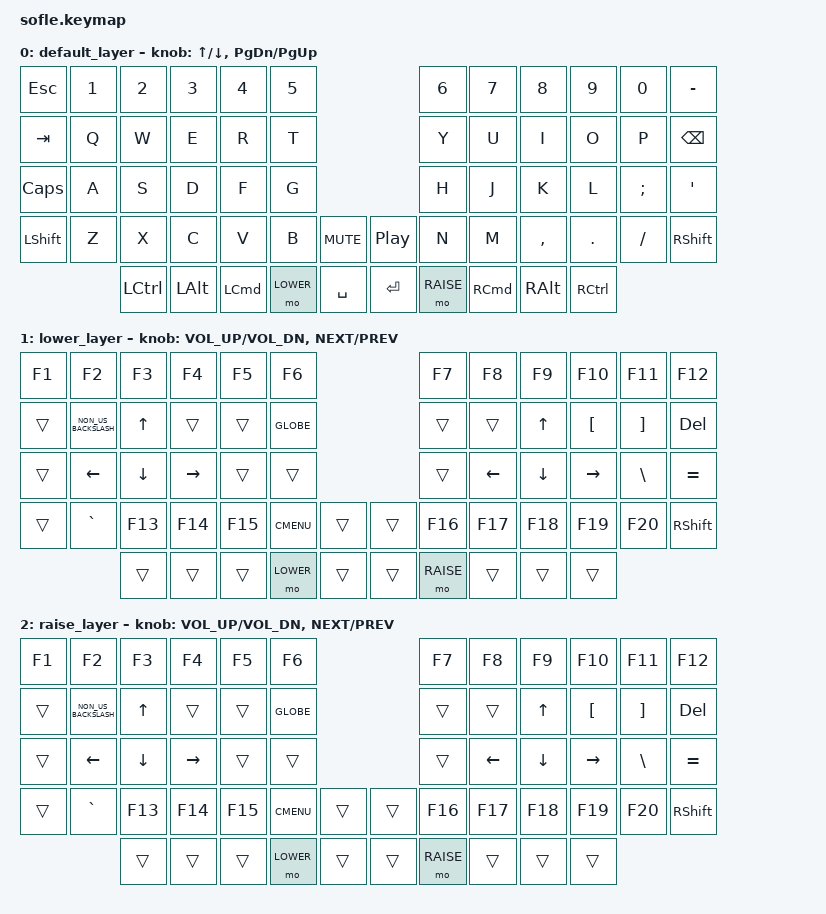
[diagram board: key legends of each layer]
/*
 * Copyright (c) 2020 The ZMK Contributors
 *
 * SPDX-License-Identifier: MIT
 */

#include <behaviors.dtsi>
#include <dt-bindings/zmk/keys.h>
#include <dt-bindings/zmk/bt.h>

#define NORMAL 0
#define LOWER 1
#define RAISE 2

/ {
    keymap {
        compatible = "zmk,keymap";

        default_layer {
// ----------------------------------------------------------------------------------------------------------------------------------------------//
// |   ESC   |    1    |    2    |    3    |    4    |    5    |                   |    6    |    7    |    8    |    9    |    0    |  MINUS  | //
// |  TAB    |    Q    |    W    |    E    |    R    |    T    |                   |    Y    |    U    |    I    |    O    |    P    |   <-    | //
// |  CLCK   |    A    |    S    |    D    |    F    |    G    |         |         |    H    |    J    |    K    |    L    |   ; :   |  ' "    | //
// |  SHIFT  |    Z    |    X    |    C    |    V    |    B    |  MUTE   |  PLAY   |    N    |    M    |   , <   |   . >   |   / ?   |  SHIFT  | //
// |                   |  CTRL   |   OPT   |   CMD   |  LOWER  |  SPACE  |  ENTER  |  RAISE  |   CMD   |   OPT   |  CTRL   |                   | //
// |                                                 |      UP & DOWN    | PG DOWN & PG UP   |                                                 | //
// ----------------------------------------------------------------------------------------------------------------------------------------------//
            bindings = <
    &kp ESC     &kp N1      &kp N2     &kp N3    &kp N4    &kp N5                                  &kp N6     &kp N7    &kp N8    &kp N9   &kp N0   &kp MINUS
    &kp TAB     &kp Q       &kp W      &kp E     &kp R     &kp T                                   &kp Y      &kp U     &kp I     &kp O    &kp P    &kp BSPC
    &kp CLCK    &kp A       &kp S      &kp D     &kp F     &kp G                                   &kp H      &kp J     &kp K     &kp L    &kp SEMI &kp SQT
    &kp LSHFT   &kp Z       &kp X      &kp C     &kp V     &kp B     &kp C_MUTE   &kp C_PLAY_PAUSE &kp N      &kp M     &kp COMMA &kp DOT  &kp FSLH &kp RSHFT
                            &kp LCTRL  &kp LALT  &kp LCMD  &mo LOWER &kp SPACE    &kp RET          &mo RAISE  &kp RCMD  &kp RALT  &kp RCTRL
            >;

            sensor-bindings = <&inc_dec_kp UP DOWN &inc_dec_kp PG_DN PG_UP>;
        };

        lower_layer {
// ----------------------------------------------------------------------------------------------------------------------------------------------//
// |   F1    |   F2    |   F3    |   F4    |   F5    |   F6    |                   |   F7    |   F8    |   F9    |   F10   |   F11   |   F12   | //
// |  TAB    |   § ±   |   UP    |         |         |         |                   |         |         |   UP    |   [ {   |   ] }   |   DEL   | //
// |  CAPS   |  LEFT   |  DOWN   |  RIGHT  |         |         |         |         |         |  LEFT   |  DOWN   |  RIGHT  |   \ |   |   = +   | //
// |  SHIFT  |  ` ~    |  F13    |  F14    |  F15    |  CMENU  |  MUTE   |  PLAY   |  F16    |  F17    |  F18    |  F19    |   F20   |  SHIFT  | //
// |                   |  CTRL   |   OPT   |   CMD   |  LOWER  |  SPACE  |  ENTER  |  RAISE  |   CMD   |   OPT   |  CTRL   |                   | //
// |                                                 |      V+ & V-      |    PREV & NEXT    |                                                 | //
// ----------------------------------------------------------------------------------------------------------------------------------------------//
            bindings = <
    &kp F1  &kp F2      &kp F3      &kp F4      &kp F5      &kp F6                                &kp F7     &kp F8     &kp F9     &kp F10    &kp F11    &kp F12
    &trans  &kp NON_US_BACKSLASH    &kp UP      &trans      &trans     &kp GLOBE                  &trans     &trans     &kp UP     &kp LBKT   &kp RBKT   &kp DEL
    &trans  &kp LEFT    &kp DOWN    &kp RIGHT   &trans      &trans                                &trans     &kp LEFT   &kp DOWN   &kp RIGHT  &kp BSLH   &kp EQUAL
    &trans  &kp GRAVE   &kp F13     &kp F14     &kp F15      &kp K_CMENU &trans         &trans    &kp F16    &kp F17    &kp F18    &kp F19    &kp F20    &kp RSHFT
                        &trans      &trans      &trans      &mo LOWER &trans            &trans    &mo RAISE  &trans     &trans     &trans
            >;

            sensor-bindings = <                 &inc_dec_kp C_VOL_UP C_VOL_DN           &inc_dec_kp C_NEXT C_PREV>;
        };

        raise_layer {
// ----------------------------------------------------------------------------------------------------------------------------------------------//
// |   F1    |   F2    |   F3    |   F4    |   F5    |   F6    |                   |   F7    |   F8    |   F9    |   F10   |   F11   |   F12   | //
// |  TAB    |   § ±   |   UP    |         |         |         |                   |         |         |   UP    |   [ {   |   ] }   |   DEL   | //
// |  CAPS   |  LEFT   |  DOWN   |  RIGHT  |         |         |         |         |         |  LEFT   |  DOWN   |  RIGHT  |   \ |   |   = +   | //
// |  SHIFT  |  ` ~    |  F13    |  F14    |  F15    |  CMENU  |  MUTE   |  PLAY   |  F16    |  F17    |  F18    |  F19    |   F20   |  SHIFT  | //
// |                   |  CTRL   |   OPT   |   CMD   |  LOWER  |  SPACE  |  ENTER  |  RAISE  |   CMD   |   OPT   |  CTRL   |                   | //
// |                                                 |      V+ & V-      |    PREV & NEXT    |                                                 | //
// ----------------------------------------------------------------------------------------------------------------------------------------------//
            bindings = <
    &kp F1  &kp F2      &kp F3      &kp F4      &kp F5      &kp F6                                &kp F7     &kp F8     &kp F9     &kp F10    &kp F11    &kp F12
    &trans  &kp NON_US_BACKSLASH    &kp UP      &trans      &trans     &kp GLOBE                  &trans     &trans     &kp UP     &kp LBKT   &kp RBKT   &kp DEL
    &trans  &kp LEFT    &kp DOWN    &kp RIGHT   &trans      &trans                                &trans     &kp LEFT   &kp DOWN   &kp RIGHT  &kp BSLH   &kp EQUAL
    &trans  &kp GRAVE   &kp F13     &kp F14     &kp F15      &kp K_CMENU &trans         &trans    &kp F16    &kp F17    &kp F18    &kp F19    &kp F20    &kp RSHFT
                        &trans      &trans      &trans      &mo LOWER &trans            &trans    &mo RAISE  &trans     &trans     &trans
            >;

            sensor-bindings = <                 &inc_dec_kp C_VOL_UP C_VOL_DN           &inc_dec_kp C_NEXT C_PREV>;
        };
    };
};
